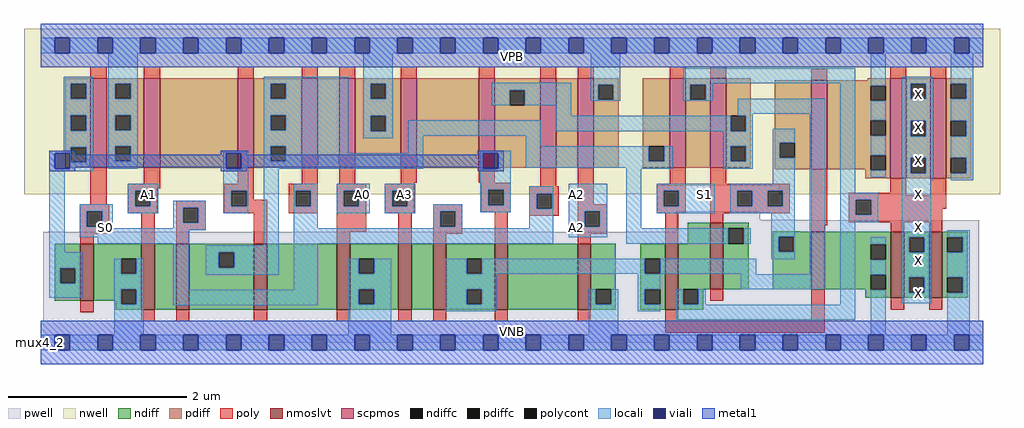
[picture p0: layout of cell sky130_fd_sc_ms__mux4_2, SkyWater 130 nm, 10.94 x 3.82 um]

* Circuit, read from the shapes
.subckt sky130_fd_sc_ms__mux4_2 A0 A1 A2 A3 S0 S1 VGND VNB VPB VPWR X
XM1 VGND S0 n1 VNB sky130_fd_pr__nfet_01v8_lvt w=0.64 l=0.15
XM2 n2 A1 VGND VNB sky130_fd_pr__nfet_01v8_lvt w=0.74 l=0.15
XM3 n3 S0 n2 VNB sky130_fd_pr__nfet_01v8_lvt w=0.74 l=0.15
XM4 n4 n1 n3 VNB sky130_fd_pr__nfet_01v8_lvt w=0.74 l=0.15
XM5 VGND A0 n4 VNB sky130_fd_pr__nfet_01v8_lvt w=0.74 l=0.15
XM6 n5 A3 VGND VNB sky130_fd_pr__nfet_01v8_lvt w=0.74 l=0.15
XM7 n6 S0 n5 VNB sky130_fd_pr__nfet_01v8_lvt w=0.74 l=0.15
XM8 n7 n1 n6 VNB sky130_fd_pr__nfet_01v8_lvt w=0.74 l=0.15
XM9 VGND A2 n7 VNB sky130_fd_pr__nfet_01v8_lvt w=0.74 l=0.15
XM10 n8 S1 n6 VNB sky130_fd_pr__nfet_01v8_lvt w=0.74 l=0.15
XM11 n3 n9 n8 VNB sky130_fd_pr__nfet_01v8_lvt w=0.74 l=0.15
XM12 VGND S1 n9 VNB sky130_fd_pr__nfet_01v8_lvt w=0.64 l=0.15
XM13 X n8 VGND VNB sky130_fd_pr__nfet_01v8_lvt w=0.74 l=0.15 m=2
XM14 VPWR S0 n1 VPB sky130_fd_pr__pfet_01v8 w=1 l=0.18
XM15 n10 A1 VPWR VPB sky130_fd_pr__pfet_01v8 w=1 l=0.18
XM16 n3 n1 n10 VPB sky130_fd_pr__pfet_01v8 w=1 l=0.18
XM17 n11 S0 n3 VPB sky130_fd_pr__pfet_01v8 w=1 l=0.18
XM18 VPWR A0 n11 VPB sky130_fd_pr__pfet_01v8 w=1 l=0.18
XM19 n12 A3 VPWR VPB sky130_fd_pr__pfet_01v8 w=1 l=0.18
XM20 n6 n1 n12 VPB sky130_fd_pr__pfet_01v8 w=1 l=0.18
XM21 n13 S0 n6 VPB sky130_fd_pr__pfet_01v8 w=1 l=0.18
XM22 VPWR A2 n13 VPB sky130_fd_pr__pfet_01v8 w=1 l=0.18
XM23 n8 S1 n3 VPB sky130_fd_pr__pfet_01v8 w=1 l=0.18
XM24 n6 n9 n8 VPB sky130_fd_pr__pfet_01v8 w=1 l=0.18
XM25 VPWR S1 n9 VPB sky130_fd_pr__pfet_01v8 w=1 l=0.18
XM26 X n8 VPWR VPB sky130_fd_pr__pfet_01v8 w=1.12 l=0.18 m=2
.ends

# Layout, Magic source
magic
tech sky130A
magscale 1 2
<< nwell >>
rect -38 352 2150 704
rect -38 332 1382 352
rect 1655 332 2150 352
<< pwell >>
rect 1424 275 1613 294
rect 1424 274 1728 275
rect 1424 248 2104 274
rect 5 49 2104 248
rect 0 0 2112 49
<< scpmos >>
rect 111 392 147 592
rect 231 392 267 592
rect 441 392 477 592
rect 585 392 621 592
rect 669 392 705 592
rect 807 392 843 592
rect 981 392 1017 592
rect 1119 392 1155 592
rect 1203 392 1239 592
rect 1410 392 1446 592
rect 1500 392 1536 592
rect 1727 388 1763 588
rect 1904 368 1940 592
rect 1994 368 2030 592
<< nmoslvt >>
rect 88 94 118 222
rect 225 74 255 222
rect 303 74 333 222
rect 477 74 507 222
rect 663 74 693 222
rect 801 74 831 222
rect 879 74 909 222
rect 1017 74 1047 222
rect 1203 74 1233 222
rect 1399 74 1429 222
rect 1500 120 1530 268
rect 1727 120 1757 248
rect 1905 100 1935 248
rect 1991 100 2021 248
<< ndiff >>
rect 1450 222 1500 268
rect 31 167 88 222
rect 31 133 43 167
rect 77 133 88 167
rect 31 94 88 133
rect 118 188 225 222
rect 118 154 180 188
rect 214 154 225 188
rect 118 120 225 154
rect 118 94 180 120
rect 168 86 180 94
rect 214 86 225 120
rect 168 74 225 86
rect 255 74 303 222
rect 333 202 477 222
rect 333 168 399 202
rect 433 168 477 202
rect 333 74 477 168
rect 507 74 663 222
rect 693 188 801 222
rect 693 154 713 188
rect 747 154 801 188
rect 693 120 801 154
rect 693 86 713 120
rect 747 86 801 120
rect 693 74 801 86
rect 831 74 879 222
rect 909 188 1017 222
rect 909 154 954 188
rect 988 154 1017 188
rect 909 120 1017 154
rect 909 86 954 120
rect 988 86 1017 120
rect 909 74 1017 86
rect 1047 74 1203 222
rect 1233 120 1289 222
rect 1233 86 1244 120
rect 1278 86 1289 120
rect 1233 74 1289 86
rect 1343 188 1399 222
rect 1343 154 1354 188
rect 1388 154 1399 188
rect 1343 120 1399 154
rect 1343 86 1354 120
rect 1388 86 1399 120
rect 1343 74 1399 86
rect 1429 120 1500 222
rect 1530 256 1587 268
rect 1530 222 1541 256
rect 1575 222 1587 256
rect 1530 120 1587 222
rect 1641 248 1702 249
rect 1641 237 1727 248
rect 1641 203 1654 237
rect 1688 203 1727 237
rect 1641 120 1727 203
rect 1757 220 1905 248
rect 1757 186 1860 220
rect 1894 186 1905 220
rect 1757 152 1905 186
rect 1757 120 1860 152
rect 1429 86 1440 120
rect 1474 86 1485 120
rect 1429 74 1485 86
rect 1848 118 1860 120
rect 1894 118 1905 152
rect 1848 100 1905 118
rect 1935 236 1991 248
rect 1935 202 1946 236
rect 1980 202 1991 236
rect 1935 146 1991 202
rect 1935 112 1946 146
rect 1980 112 1991 146
rect 1935 100 1991 112
rect 2021 236 2078 248
rect 2021 202 2032 236
rect 2066 202 2078 236
rect 2021 146 2078 202
rect 2021 112 2032 146
rect 2066 112 2078 146
rect 2021 100 2078 112
<< pdiff >>
rect 55 580 111 592
rect 55 546 67 580
rect 101 546 111 580
rect 55 509 111 546
rect 55 475 67 509
rect 101 475 111 509
rect 55 438 111 475
rect 55 404 67 438
rect 101 404 111 438
rect 55 392 111 404
rect 147 580 231 592
rect 147 546 167 580
rect 201 546 231 580
rect 147 510 231 546
rect 147 476 167 510
rect 201 476 231 510
rect 147 440 231 476
rect 147 406 167 440
rect 201 406 231 440
rect 147 392 231 406
rect 267 392 441 592
rect 477 580 585 592
rect 477 546 515 580
rect 549 546 585 580
rect 477 510 585 546
rect 477 476 515 510
rect 549 476 585 510
rect 477 440 585 476
rect 477 406 515 440
rect 549 406 585 440
rect 477 392 585 406
rect 621 392 669 592
rect 705 580 807 592
rect 705 546 739 580
rect 773 546 807 580
rect 705 508 807 546
rect 705 474 739 508
rect 773 474 807 508
rect 705 392 807 474
rect 843 392 981 592
rect 1017 566 1119 592
rect 1017 532 1051 566
rect 1085 532 1119 566
rect 1017 392 1119 532
rect 1155 392 1203 592
rect 1239 578 1295 592
rect 1239 544 1249 578
rect 1283 544 1295 578
rect 1239 392 1295 544
rect 1349 440 1410 592
rect 1349 406 1363 440
rect 1397 406 1410 440
rect 1349 392 1410 406
rect 1446 578 1500 592
rect 1446 544 1456 578
rect 1490 544 1500 578
rect 1446 392 1500 544
rect 1536 508 1591 592
rect 1854 588 1904 592
rect 1536 474 1546 508
rect 1580 474 1591 508
rect 1536 440 1591 474
rect 1536 406 1546 440
rect 1580 406 1591 440
rect 1536 392 1591 406
rect 1645 448 1727 588
rect 1645 414 1656 448
rect 1690 414 1727 448
rect 1645 388 1727 414
rect 1763 576 1904 588
rect 1763 542 1860 576
rect 1894 542 1904 576
rect 1763 498 1904 542
rect 1763 464 1860 498
rect 1894 464 1904 498
rect 1763 420 1904 464
rect 1763 388 1860 420
rect 1848 386 1860 388
rect 1894 386 1904 420
rect 1848 368 1904 386
rect 1940 580 1994 592
rect 1940 546 1950 580
rect 1984 546 1994 580
rect 1940 497 1994 546
rect 1940 463 1950 497
rect 1984 463 1994 497
rect 1940 414 1994 463
rect 1940 380 1950 414
rect 1984 380 1994 414
rect 1940 368 1994 380
rect 2030 580 2085 592
rect 2030 546 2040 580
rect 2074 546 2085 580
rect 2030 497 2085 546
rect 2030 463 2040 497
rect 2074 463 2085 497
rect 2030 414 2085 463
rect 2030 380 2040 414
rect 2074 380 2085 414
rect 2030 368 2085 380
<< ndiffc >>
rect 43 133 77 167
rect 180 154 214 188
rect 180 86 214 120
rect 399 168 433 202
rect 713 154 747 188
rect 713 86 747 120
rect 954 154 988 188
rect 954 86 988 120
rect 1244 86 1278 120
rect 1354 154 1388 188
rect 1354 86 1388 120
rect 1541 222 1575 256
rect 1654 203 1688 237
rect 1860 186 1894 220
rect 1440 86 1474 120
rect 1860 118 1894 152
rect 1946 202 1980 236
rect 1946 112 1980 146
rect 2032 202 2066 236
rect 2032 112 2066 146
<< pdiffc >>
rect 67 546 101 580
rect 67 475 101 509
rect 67 404 101 438
rect 167 546 201 580
rect 167 476 201 510
rect 167 406 201 440
rect 515 546 549 580
rect 515 476 549 510
rect 515 406 549 440
rect 739 546 773 580
rect 739 474 773 508
rect 1051 532 1085 566
rect 1249 544 1283 578
rect 1363 406 1397 440
rect 1456 544 1490 578
rect 1546 474 1580 508
rect 1546 406 1580 440
rect 1656 414 1690 448
rect 1860 542 1894 576
rect 1860 464 1894 498
rect 1860 386 1894 420
rect 1950 546 1984 580
rect 1950 463 1984 497
rect 1950 380 1984 414
rect 2040 546 2074 580
rect 2040 463 2074 497
rect 2040 380 2074 414
<< poly >>
rect 111 592 147 618
rect 231 592 267 618
rect 441 592 477 618
rect 585 592 621 618
rect 669 592 705 618
rect 807 592 843 618
rect 981 592 1017 618
rect 1119 592 1155 618
rect 1203 592 1239 618
rect 1410 592 1446 618
rect 1500 592 1536 618
rect 1727 588 1763 614
rect 1904 592 1940 618
rect 1994 592 2030 618
rect 111 310 147 392
rect 231 356 267 392
rect 441 356 477 392
rect 585 356 621 392
rect 669 356 705 392
rect 807 358 843 392
rect 981 358 1017 392
rect 807 356 837 358
rect 195 346 267 356
rect 195 340 261 346
rect 87 294 153 310
rect 87 260 103 294
rect 137 260 153 294
rect 195 306 211 340
rect 245 306 261 340
rect 411 340 477 356
rect 195 290 261 306
rect 303 302 369 318
rect 87 244 153 260
rect 88 222 118 244
rect 225 222 255 290
rect 303 268 319 302
rect 353 268 369 302
rect 411 306 427 340
rect 461 320 477 340
rect 555 340 621 356
rect 461 306 507 320
rect 411 290 507 306
rect 555 306 571 340
rect 605 306 621 340
rect 555 290 621 306
rect 663 340 729 356
rect 663 306 679 340
rect 713 306 729 340
rect 303 252 369 268
rect 303 222 333 252
rect 477 222 507 290
rect 663 248 729 306
rect 771 340 837 356
rect 771 306 787 340
rect 821 306 837 340
rect 987 342 1053 358
rect 1119 350 1155 392
rect 771 290 837 306
rect 879 294 945 310
rect 663 222 693 248
rect 801 222 831 290
rect 879 260 895 294
rect 929 260 945 294
rect 987 308 1003 342
rect 1037 308 1053 342
rect 987 292 1053 308
rect 1095 334 1161 350
rect 1095 300 1111 334
rect 1145 300 1161 334
rect 879 244 945 260
rect 879 222 909 244
rect 1017 222 1047 292
rect 1095 284 1161 300
rect 1203 310 1239 392
rect 1410 356 1446 392
rect 1380 340 1446 356
rect 1203 294 1269 310
rect 1203 260 1219 294
rect 1253 260 1269 294
rect 1380 306 1396 340
rect 1430 306 1446 340
rect 1380 290 1446 306
rect 1500 356 1536 392
rect 1500 340 1679 356
rect 1500 306 1561 340
rect 1595 306 1629 340
rect 1663 306 1679 340
rect 1500 290 1679 306
rect 1203 244 1269 260
rect 1203 222 1233 244
rect 1399 222 1429 290
rect 1500 268 1530 290
rect 88 68 118 94
rect 1727 263 1763 388
rect 1904 336 1940 368
rect 1811 330 1940 336
rect 1994 330 2030 368
rect 1811 320 2030 330
rect 1811 286 1827 320
rect 1861 300 2030 320
rect 1861 286 2021 300
rect 1811 270 2021 286
rect 1727 248 1757 263
rect 1905 248 1935 270
rect 1991 248 2021 270
rect 1500 94 1530 120
rect 225 48 255 74
rect 303 48 333 74
rect 477 48 507 74
rect 663 48 693 74
rect 801 48 831 74
rect 879 48 909 74
rect 1017 48 1047 74
rect 1203 48 1233 74
rect 1399 52 1429 74
rect 1727 52 1757 120
rect 1905 74 1935 100
rect 1991 74 2021 100
rect 1399 22 1757 52
<< polycont >>
rect 103 260 137 294
rect 211 306 245 340
rect 319 268 353 302
rect 427 306 461 340
rect 571 306 605 340
rect 679 306 713 340
rect 787 306 821 340
rect 895 260 929 294
rect 1003 308 1037 342
rect 1111 300 1145 334
rect 1219 260 1253 294
rect 1396 306 1430 340
rect 1561 306 1595 340
rect 1629 306 1663 340
rect 1827 286 1861 320
<< locali >>
rect 0 649 31 683
rect 65 649 127 683
rect 161 649 223 683
rect 257 649 319 683
rect 353 649 415 683
rect 449 649 511 683
rect 545 649 607 683
rect 641 649 703 683
rect 737 649 799 683
rect 833 649 895 683
rect 929 649 991 683
rect 1025 649 1087 683
rect 1121 649 1183 683
rect 1217 649 1279 683
rect 1313 649 1375 683
rect 1409 649 1471 683
rect 1505 649 1567 683
rect 1601 649 1663 683
rect 1697 649 1759 683
rect 1793 649 1855 683
rect 1889 649 1951 683
rect 1985 649 2047 683
rect 2081 649 2112 683
rect 51 580 117 596
rect 51 546 67 580
rect 101 546 117 580
rect 51 509 117 546
rect 51 475 67 509
rect 101 475 117 509
rect 51 438 117 475
rect 51 430 67 438
rect 19 424 67 430
rect 19 390 31 424
rect 65 404 67 424
rect 101 404 117 438
rect 65 390 117 404
rect 151 580 217 649
rect 151 546 167 580
rect 201 546 217 580
rect 151 510 217 546
rect 151 476 167 510
rect 201 476 217 510
rect 151 440 217 476
rect 151 406 167 440
rect 201 406 217 440
rect 499 580 689 596
rect 499 546 515 580
rect 549 546 689 580
rect 499 510 689 546
rect 499 476 515 510
rect 549 476 689 510
rect 499 440 689 476
rect 723 580 789 649
rect 723 546 739 580
rect 773 546 789 580
rect 723 508 789 546
rect 1011 566 1189 582
rect 1011 532 1051 566
rect 1085 532 1189 566
rect 1233 578 1299 649
rect 1233 544 1249 578
rect 1283 544 1299 578
rect 1233 542 1299 544
rect 1440 581 1826 615
rect 1440 578 1506 581
rect 1440 544 1456 578
rect 1490 544 1506 578
rect 1440 542 1506 544
rect 723 474 739 508
rect 773 474 789 508
rect 1155 508 1189 532
rect 1562 513 1758 547
rect 1562 508 1596 513
rect 723 458 789 474
rect 823 464 1121 498
rect 1155 474 1546 508
rect 1580 474 1596 508
rect 151 390 217 406
rect 409 424 465 430
rect 409 390 415 424
rect 449 390 465 424
rect 19 384 117 390
rect 19 202 53 384
rect 195 340 263 356
rect 87 294 161 310
rect 87 260 103 294
rect 137 260 161 294
rect 195 306 211 340
rect 245 306 263 340
rect 409 340 465 390
rect 195 290 263 306
rect 297 302 369 318
rect 87 256 161 260
rect 297 268 319 302
rect 353 268 369 302
rect 409 306 427 340
rect 461 306 465 340
rect 409 290 465 306
rect 499 406 515 440
rect 549 424 689 440
rect 823 424 857 464
rect 1087 440 1121 464
rect 1530 440 1596 474
rect 549 406 857 424
rect 499 390 857 406
rect 985 424 1053 430
rect 985 390 991 424
rect 1025 390 1053 424
rect 1087 406 1363 440
rect 1397 406 1416 440
rect 1087 392 1416 406
rect 297 256 369 268
rect 87 252 369 256
rect 87 236 331 252
rect 127 222 331 236
rect 19 167 93 202
rect 19 133 43 167
rect 77 133 93 167
rect 19 100 93 133
rect 164 154 180 188
rect 214 154 230 188
rect 164 120 230 154
rect 164 86 180 120
rect 214 86 230 120
rect 164 17 230 86
rect 297 118 331 222
rect 499 218 533 390
rect 370 202 533 218
rect 370 168 399 202
rect 433 168 533 202
rect 370 152 533 168
rect 567 340 621 356
rect 567 306 571 340
rect 605 306 621 340
rect 567 256 621 306
rect 663 340 737 356
rect 663 306 679 340
rect 713 306 737 340
rect 663 290 737 306
rect 771 340 839 356
rect 771 306 787 340
rect 821 306 839 340
rect 985 342 1053 390
rect 1312 390 1416 392
rect 1530 406 1546 440
rect 1580 406 1596 440
rect 1530 390 1596 406
rect 1640 448 1690 479
rect 1640 414 1656 448
rect 771 290 839 306
rect 879 294 945 310
rect 879 260 895 294
rect 929 260 945 294
rect 985 308 1003 342
rect 1037 308 1053 342
rect 985 292 1053 308
rect 1095 334 1149 350
rect 1095 300 1111 334
rect 1145 300 1149 334
rect 879 256 945 260
rect 1095 256 1149 300
rect 567 222 1149 256
rect 1183 294 1269 356
rect 1183 260 1219 294
rect 1253 260 1269 294
rect 1183 236 1269 260
rect 1312 256 1346 390
rect 1640 356 1690 414
rect 1380 340 1511 356
rect 1380 306 1396 340
rect 1430 306 1511 340
rect 1380 290 1511 306
rect 1545 340 1690 356
rect 1545 306 1561 340
rect 1595 306 1629 340
rect 1663 306 1690 340
rect 1545 290 1690 306
rect 1312 222 1541 256
rect 1575 222 1591 256
rect 1637 237 1690 290
rect 567 118 621 222
rect 1637 203 1654 237
rect 1688 203 1690 237
rect 297 84 621 118
rect 689 154 713 188
rect 747 154 785 188
rect 689 120 785 154
rect 689 86 713 120
rect 747 86 785 120
rect 689 17 785 86
rect 906 154 954 188
rect 988 154 1354 188
rect 1388 154 1603 188
rect 1637 187 1690 203
rect 906 120 1021 154
rect 1338 120 1388 154
rect 1569 153 1603 154
rect 1724 153 1758 513
rect 906 86 954 120
rect 988 86 1021 120
rect 906 70 1021 86
rect 1228 86 1244 120
rect 1278 86 1294 120
rect 1228 17 1294 86
rect 1338 86 1354 120
rect 1338 70 1388 86
rect 1424 86 1440 120
rect 1474 86 1490 120
rect 1569 119 1758 153
rect 1792 336 1826 581
rect 1860 576 1894 649
rect 1860 498 1894 542
rect 1860 420 1894 464
rect 1860 370 1894 386
rect 1930 580 2000 596
rect 1930 546 1950 580
rect 1984 546 2000 580
rect 1930 497 2000 546
rect 1930 463 1950 497
rect 1984 463 2000 497
rect 1930 414 2000 463
rect 1930 380 1950 414
rect 1984 380 2000 414
rect 1930 364 2000 380
rect 2040 580 2090 649
rect 2074 546 2090 580
rect 2040 497 2090 546
rect 2074 463 2090 497
rect 2040 414 2090 463
rect 2074 380 2090 414
rect 2040 364 2090 380
rect 1792 320 1877 336
rect 1792 286 1827 320
rect 1861 286 1877 320
rect 1792 270 1877 286
rect 1424 85 1490 86
rect 1792 85 1826 270
rect 1930 236 1996 364
rect 1424 51 1826 85
rect 1860 220 1894 236
rect 1860 152 1894 186
rect 1860 17 1894 118
rect 1930 202 1946 236
rect 1980 202 1996 236
rect 1930 146 1996 202
rect 1930 112 1946 146
rect 1980 112 1996 146
rect 1930 88 1996 112
rect 2032 236 2082 252
rect 2066 202 2082 236
rect 2032 146 2082 202
rect 2066 112 2082 146
rect 2032 17 2082 112
rect 0 -17 31 17
rect 65 -17 127 17
rect 161 -17 223 17
rect 257 -17 319 17
rect 353 -17 415 17
rect 449 -17 511 17
rect 545 -17 607 17
rect 641 -17 703 17
rect 737 -17 799 17
rect 833 -17 895 17
rect 929 -17 991 17
rect 1025 -17 1087 17
rect 1121 -17 1183 17
rect 1217 -17 1279 17
rect 1313 -17 1375 17
rect 1409 -17 1471 17
rect 1505 -17 1567 17
rect 1601 -17 1663 17
rect 1697 -17 1759 17
rect 1793 -17 1855 17
rect 1889 -17 1951 17
rect 1985 -17 2047 17
rect 2081 -17 2112 17
<< viali >>
rect 31 649 65 683
rect 127 649 161 683
rect 223 649 257 683
rect 319 649 353 683
rect 415 649 449 683
rect 511 649 545 683
rect 607 649 641 683
rect 703 649 737 683
rect 799 649 833 683
rect 895 649 929 683
rect 991 649 1025 683
rect 1087 649 1121 683
rect 1183 649 1217 683
rect 1279 649 1313 683
rect 1375 649 1409 683
rect 1471 649 1505 683
rect 1567 649 1601 683
rect 1663 649 1697 683
rect 1759 649 1793 683
rect 1855 649 1889 683
rect 1951 649 1985 683
rect 2047 649 2081 683
rect 31 390 65 424
rect 415 390 449 424
rect 991 390 1025 424
rect 31 -17 65 17
rect 127 -17 161 17
rect 223 -17 257 17
rect 319 -17 353 17
rect 415 -17 449 17
rect 511 -17 545 17
rect 607 -17 641 17
rect 703 -17 737 17
rect 799 -17 833 17
rect 895 -17 929 17
rect 991 -17 1025 17
rect 1087 -17 1121 17
rect 1183 -17 1217 17
rect 1279 -17 1313 17
rect 1375 -17 1409 17
rect 1471 -17 1505 17
rect 1567 -17 1601 17
rect 1663 -17 1697 17
rect 1759 -17 1793 17
rect 1855 -17 1889 17
rect 1951 -17 1985 17
rect 2047 -17 2081 17
<< metal1 >>
rect 0 683 2112 715
rect 0 649 31 683
rect 65 649 127 683
rect 161 649 223 683
rect 257 649 319 683
rect 353 649 415 683
rect 449 649 511 683
rect 545 649 607 683
rect 641 649 703 683
rect 737 649 799 683
rect 833 649 895 683
rect 929 649 991 683
rect 1025 649 1087 683
rect 1121 649 1183 683
rect 1217 649 1279 683
rect 1313 649 1375 683
rect 1409 649 1471 683
rect 1505 649 1567 683
rect 1601 649 1663 683
rect 1697 649 1759 683
rect 1793 649 1855 683
rect 1889 649 1951 683
rect 1985 649 2047 683
rect 2081 649 2112 683
rect 0 617 2112 649
rect 19 424 77 430
rect 19 390 31 424
rect 65 421 77 424
rect 403 424 461 430
rect 403 421 415 424
rect 65 393 415 421
rect 65 390 77 393
rect 19 384 77 390
rect 403 390 415 393
rect 449 421 461 424
rect 979 424 1037 430
rect 979 421 991 424
rect 449 393 991 421
rect 449 390 461 393
rect 403 384 461 390
rect 979 390 991 393
rect 1025 390 1037 424
rect 979 384 1037 390
rect 0 17 2112 49
rect 0 -17 31 17
rect 65 -17 127 17
rect 161 -17 223 17
rect 257 -17 319 17
rect 353 -17 415 17
rect 449 -17 511 17
rect 545 -17 607 17
rect 641 -17 703 17
rect 737 -17 799 17
rect 833 -17 895 17
rect 929 -17 991 17
rect 1025 -17 1087 17
rect 1121 -17 1183 17
rect 1217 -17 1279 17
rect 1313 -17 1375 17
rect 1409 -17 1471 17
rect 1505 -17 1567 17
rect 1601 -17 1663 17
rect 1697 -17 1759 17
rect 1793 -17 1855 17
rect 1889 -17 1951 17
rect 1985 -17 2047 17
rect 2081 -17 2112 17
rect 0 -49 2112 -17
<< labels >>
flabel pwell s 0 0 2112 49 0 FreeSans 200 0 0 0 VNB
port 8 nsew ground bidirectional
flabel nwell s 0 617 2112 666 0 FreeSans 200 0 0 0 VPB
port 9 nsew power bidirectional
rlabel comment s 0 0 0 0 4 mux4_2
flabel metal1 s 0 617 2112 666 0 FreeSans 340 0 0 0 VPWR
port 10 nsew power bidirectional
flabel metal1 s 0 0 2112 49 0 FreeSans 340 0 0 0 VGND
port 7 nsew ground bidirectional
flabel locali s 1951 94 1985 128 0 FreeSans 340 0 0 0 X
port 11 nsew signal output
flabel locali s 1951 168 1985 202 0 FreeSans 340 0 0 0 X
port 11 nsew signal output
flabel locali s 1951 242 1985 276 0 FreeSans 340 0 0 0 X
port 11 nsew signal output
flabel locali s 1951 316 1985 350 0 FreeSans 340 0 0 0 X
port 11 nsew signal output
flabel locali s 1951 390 1985 424 0 FreeSans 340 0 0 0 X
port 11 nsew signal output
flabel locali s 1951 464 1985 498 0 FreeSans 340 0 0 0 X
port 11 nsew signal output
flabel locali s 1951 538 1985 572 0 FreeSans 340 0 0 0 X
port 11 nsew signal output
flabel locali s 703 316 737 350 0 FreeSans 340 0 0 0 A0
port 1 nsew signal input
flabel locali s 223 316 257 350 0 FreeSans 340 0 0 0 A1
port 2 nsew signal input
flabel locali s 799 316 833 350 0 FreeSans 340 0 0 0 A3
port 4 nsew signal input
flabel locali s 1471 316 1505 350 0 FreeSans 340 0 0 0 S1
port 6 nsew signal input
flabel locali s 127 242 161 276 0 FreeSans 340 0 0 0 S0
port 5 nsew signal input
flabel locali s 1183 242 1217 276 0 FreeSans 340 0 0 0 A2
port 3 nsew signal input
flabel locali s 1183 316 1217 350 0 FreeSans 340 0 0 0 A2
port 3 nsew signal input
<< properties >>
string LEFsite unit
string LEFclass CORE
string FIXED_BBOX 0 0 2112 666
string GDS_FILE $PDKPATH/libs.ref/sky130_fd_sc_ms/gds/sky130_fd_sc_ms.gds
string LEFsymmetry X Y
string GDS_END 482396
string GDS_START 467340
<< end >>
